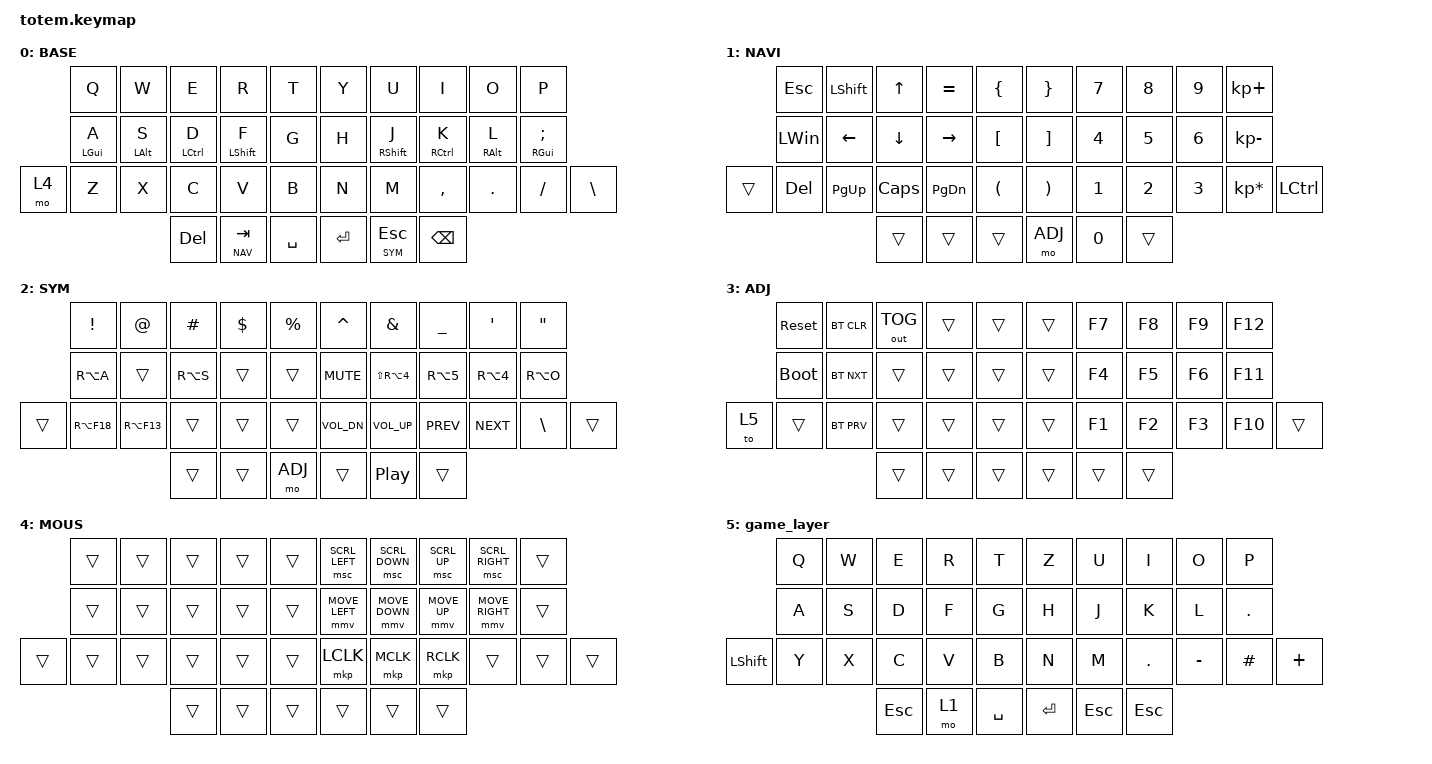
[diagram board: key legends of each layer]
//
//                                                        ▀▀▀▀▀     ▀▀▀▀▀          ▀▀█▀▀
//                                                        ▄▀▀▀▄  ▄  ▄▀▀▀▄  ▄  ▄▀▀▀▄  █  ▄▀▀▀▄
//                                                        █   █  █  █   █  █  █   █  █  █   █
//                                                         ▀▀▀   █   ▀▀▀   █   ▀▀▀   ▀   ▀▀▀
//                                                               █      ▄▄▄█▄▄▄    █   █  
//                                                               ▀      █  █  █     █▄█
//                                                             ▀▀▀▀▀    █  █  █      ▀
//                                                                      ▀  ▀  ▀
//
// ▄▄▄▄▄▄▄▄▄▄▄▄▄▄▄▄▄▄▄▄▄▄▄▄▄▄▄▄▄▄▄▄▄▄▄▄▄▄▄▄▄▄▄▄▄▄▄▄▄▄▄▄▄▄▄▄▄▄▄▄▄▄▄▄▄▄▄▄▄▄▄▄▄▄▄▄▄▄▄▄▄▄▄▄▄▄▄▄▄▄▄▄▄▄▄▄▄▄▄▄▄▄▄▄▄▄▄▄▄▄▄▄▄▄▄▄▄▄▄▄▄▄▄▄▄▄▄▄▄▄▄▄▄▄▄▄▄▄▄▄▄▄▄▄▄▄▄▄▄

#include <behaviors.dtsi>
#include <dt-bindings/zmk/bt.h>
#include <dt-bindings/zmk/keys.h>
#include <dt-bindings/zmk/outputs.h>
#include <dt-bindings/zmk/pointing.h>

#define BASE 0
#define NAV  1
#define SYM  2
#define ADJ  3
#define MOUS 4

&mt {
    quick-tap-ms = <100>;
    global-quick-tap;
    flavor = "tap-preferred";
    tapping-term-ms = <170>;
};

/ {
    combos {
        compatible = "zmk,combos";

        combo_esc {
            timeout-ms = <50>;
            key-positions = <0 1>;
            bindings = <&kp ESC>;
        };
    };

    keymap {
        compatible = "zmk,keymap";

        // ▄▄▄▄▄▄▄▄▄▄▄▄▄▄▄▄▄▄▄▄▄▄▄▄▄▄▄▄▄▄▄▄▄▄▄▄▄▄▄▄▄▄▄▄▄▄▄▄▄▄▄▄▄▄▄▄▄▄▄▄▄▄▄▄▄▄▄▄▄▄▄▄▄▄▄▄▄▄▄▄▄▄▄▄▄▄▄▄▄▄▄▄▄▄▄▄▄▄▄▄▄▄▄▄▄▄▄▄▄▄▄▄▄▄▄▄▄▄▄▄▄▄▄▄▄▄▄▄▄▄▄▄▄▄▄▄▄▄▄▄▄▄▄▄▄▄▄▄▄

        base_layer {
            // ┏━━━━━━━━━━━━━━━━━━━━━━━━━━━━━━━━━━━━━━━┓

            label = "BASE";

            // ┗━━━━━━━━━━━━━━━━━━━━━━━━━━━━━━━━━━━━━━━┛
            //             ┏━━━━━━━━━━━┳━━━━━━━━━━━┳━━━━━━━━━━━┳━━━━━━━━━━━┳━━━━━━━━━━━┓   ┏━━━━━━━━━━━┳━━━━━━━━━━━┳━━━━━━━━━━━┳━━━━━━━━━━━┳━━━━━━━━━━━┓
            //             ┃     Q     ┃     W     ┃     E     ┃     R     ┃     T     ┃   ┃     Y     ┃     U     ┃     I     ┃     O     ┃     P     ┃
            //             ┣━━━━━━━━━━━╋━━━━━━━━━━━╋━━━━━━━━━━━╋━━━━━━━━━━━╋━━━━━━━━━━━┫   ┣━━━━━━━━━━━╋━━━━━━━━━━━╋━━━━━━━━━━━╋━━━━━━━━━━━╋━━━━━━━━━━━┫
            //             ┃     A     ┃     S     ┃     D     ┃     F     ┃     G     ┃   ┃     H     ┃     J     ┃     K     ┃     L     ┃     ;     ┃
            // ┏━━━━━━━━━━━╋━━━━━━━━━━━╋━━━━━━━━━━━╋━━━━━━━━━━━╋━━━━━━━━━━━╋━━━━━━━━━━━┫   ┣━━━━━━━━━━━╋━━━━━━━━━━━╋━━━━━━━━━━━╋━━━━━━━━━━━╋━━━━━━━━━━━╋━━━━━━━━━━━┓
            // ┃           ┃     Z     ┃     X     ┃     C     ┃     V     ┃     B     ┃   ┃     N     ┃     M     ┃     ,     ┃     .     ┃     /     ┃     \     ┃
            // ┗━━━━━━━━━━━┻━━━━━━━━━━━┻━━━━━━━━━━━╋━━━━━━━━━━━╋━━━━━━━━━━━╋━━━━━━━━━━━┫   ┣━━━━━━━━━━━╋━━━━━━━━━━━╋━━━━━━━━━━━╋━━━━━━━━━━━┻━━━━━━━━━━━┻━━━━━━━━━━━┛
            //                                     ┃    DEL    ┃    TAB    ┃    SPC    ┃   ┃   ENTER   ┃           ┃   BSPC    ┃
            //                                     ┗━━━━━━━━━━━┻━━━━━━━━━━━┻━━━━━━━━━━━┛   ┗━━━━━━━━━━━┻━━━━━━━━━━━┻━━━━━━━━━━━┛

            bindings = <
       &kp Q       &kp W       &kp E        &kp R        &kp T        &kp Y    &kp U        &kp I        &kp O       &kp P
       &mt LGUI A  &mt LALT S  &mt LCTRL D  &mt LSHFT F  &kp G        &kp H    &mt RSHFT J  &mt RCTRL K  &mt RALT L  &mt RGUI SEMI
&mo 4  &kp Z       &kp X       &kp C        &kp V        &kp B        &kp N    &kp M        &kp COMMA    &kp DOT     &kp FSLH       &kp BSLH
                               &kp DEL      &lt NAV TAB  &kp SPACE    &kp RET  &lt SYM ESC  &kp BSPC
            >;
        };

        // ▄▄▄▄▄▄▄▄▄▄▄▄▄▄▄▄▄▄▄▄▄▄▄▄▄▄▄▄▄▄▄▄▄▄▄▄▄▄▄▄▄▄▄▄▄▄▄▄▄▄▄▄▄▄▄▄▄▄▄▄▄▄▄▄▄▄▄▄▄▄▄▄▄▄▄▄▄▄▄▄▄▄▄▄▄▄▄▄▄▄▄▄▄▄▄▄▄▄▄▄▄▄▄▄▄▄▄▄▄▄▄▄▄▄▄▄▄▄▄▄▄▄▄▄▄▄▄▄▄▄▄▄▄▄▄▄▄▄▄▄▄▄▄▄▄▄▄▄▄

        nav_layer {
            // ┏━━━━━━━━━━━━━━━━━━━━━━━━━━━━━━━━━━━━━━━┓

            label = "NAVI";

            // ┗━━━━━━━━━━━━━━━━━━━━━━━━━━━━━━━━━━━━━━━┛
            //             ┏━━━━━━━━━━━┳━━━━━━━━━━━┳━━━━━━━━━━━┳━━━━━━━━━━━┳━━━━━━━━━━━┓   ┏━━━━━━━━━━━┳━━━━━━━━━━━┳━━━━━━━━━━━┳━━━━━━━━━━━┳━━━━━━━━━━━┓
            //             ┃           ┃           ┃     UP    ┃           ┃     {     ┃   ┃     }     ┃     7     ┃     8     ┃     9     ┃     +     ┃
            //             ┣━━━━━━━━━━━╋━━━━━━━━━━━╋━━━━━━━━━━━╋━━━━━━━━━━━╋━━━━━━━━━━━┫   ┣━━━━━━━━━━━╋━━━━━━━━━━━╋━━━━━━━━━━━╋━━━━━━━━━━━╋━━━━━━━━━━━┫
            //             ┃   SHIFT   ┃   LEFT    ┃    DOWN   ┃   RIGHT   ┃     [     ┃   ┃     ]     ┃     4     ┃     5     ┃     6     ┃     -     ┃
            // ┏━━━━━━━━━━━╋━━━━━━━━━━━╋━━━━━━━━━━━╋━━━━━━━━━━━╋━━━━━━━━━━━╋━━━━━━━━━━━┫   ┣━━━━━━━━━━━╋━━━━━━━━━━━╋━━━━━━━━━━━╋━━━━━━━━━━━╋━━━━━━━━━━━╋━━━━━━━━━━━┓
            // ┃           ┃           ┃   P UP    ┃  C LOCK   ┃  P DOWN   ┃     (     ┃   ┃     )     ┃     1     ┃     2     ┃     3     ┃     *     ┃           ┃
            // ┗━━━━━━━━━━━┻━━━━━━━━━━━┻━━━━━━━━━━━╋━━━━━━━━━━━╋━━━━━━━━━━━╋━━━━━━━━━━━┫   ┣━━━━━━━━━━━╋━━━━━━━━━━━╋━━━━━━━━━━━╋━━━━━━━━━━━┻━━━━━━━━━━━┻━━━━━━━━━━━┛
            //                                     ┃           ┃    TAB    ┃    SPC    ┃   ┃    DEL    ┃     0     ┃           ┃
            //                                     ┗━━━━━━━━━━━┻━━━━━━━━━━━┻━━━━━━━━━━━┛   ┗━━━━━━━━━━━┻━━━━━━━━━━━┻━━━━━━━━━━━┛

            bindings = <
        &kp ESC       &kp LSHFT  &kp UP    &kp EQUAL  &kp LBRC    &kp RBRC  &kp N7        &kp N8        &kp N9        &kp KP_PLUS
        &kp LEFT_WIN  &kp LEFT   &kp DOWN  &kp RIGHT  &kp LBKT    &kp RBKT  &kp NUMBER_4  &kp N5        &kp NUMBER_6  &kp KP_MINUS
&trans  &kp DEL       &kp PG_UP  &kp CAPS  &kp PG_DN  &kp LPAR    &kp RPAR  &kp NUMBER_1  &kp NUMBER_2  &kp NUMBER_3  &kp KP_MULTIPLY  &kp LCTRL
                                 &trans    &trans     &trans      &mo ADJ   &kp N0        &trans
            >;
        };

        // ▄▄▄▄▄▄▄▄▄▄▄▄▄▄▄▄▄▄▄▄▄▄▄▄▄▄▄▄▄▄▄▄▄▄▄▄▄▄▄▄▄▄▄▄▄▄▄▄▄▄▄▄▄▄▄▄▄▄▄▄▄▄▄▄▄▄▄▄▄▄▄▄▄▄▄▄▄▄▄▄▄▄▄▄▄▄▄▄▄▄▄▄▄▄▄▄▄▄▄▄▄▄▄▄▄▄▄▄▄▄▄▄▄▄▄▄▄▄▄▄▄▄▄▄▄▄▄▄▄▄▄▄▄▄▄▄▄▄▄▄▄▄▄▄▄▄▄▄▄

        sim_layer {
            // ┏━━━━━━━━━━━━━━━━━━━━━━━━━━━━━━━━━━━━━━━┓

            label = "SYM";

            // ┗━━━━━━━━━━━━━━━━━━━━━━━━━━━━━━━━━━━━━━━┛
            //             ┏━━━━━━━━━━━┳━━━━━━━━━━━┳━━━━━━━━━━━┳━━━━━━━━━━━┳━━━━━━━━━━━┓   ┏━━━━━━━━━━━┳━━━━━━━━━━━┳━━━━━━━━━━━┳━━━━━━━━━━━┳━━━━━━━━━━━┓
            //             ┃     !     ┃     @     ┃     #     ┃     $     ┃     %     ┃   ┃     ˆ     ┃     &     ┃     Ü     ┃     '     ┃     "     ┃
            //             ┣━━━━━━━━━━━╋━━━━━━━━━━━╋━━━━━━━━━━━╋━━━━━━━━━━━╋━━━━━━━━━━━┫   ┣━━━━━━━━━━━╋━━━━━━━━━━━╋━━━━━━━━━━━╋━━━━━━━━━━━╋━━━━━━━━━━━┫
            //             ┃     Ä     ┃           ┃    SZ     ┃           ┃           ┃   ┃   MUTE    ┃   YEN     ┃   EURO    ┃  POUND    ┃     Ö     ┃
            // ┏━━━━━━━━━━━╋━━━━━━━━━━━╋━━━━━━━━━━━╋━━━━━━━━━━━╋━━━━━━━━━━━╋━━━━━━━━━━━┫   ┣━━━━━━━━━━━╋━━━━━━━━━━━╋━━━━━━━━━━━╋━━━━━━━━━━━╋━━━━━━━━━━━╋━━━━━━━━━━━┓
            // ┃           ┃  EMAIL1   ┃  EMAIL2   ┃           ┃           ┃           ┃   ┃   VOL-    ┃   VOL+    ┃   LAST    ┃   NEXT    ┃     \     ┃           ┃
            // ┗━━━━━━━━━━━┻━━━━━━━━━━━┻━━━━━━━━━━━╋━━━━━━━━━━━╋━━━━━━━━━━━╋━━━━━━━━━━━┫   ┣━━━━━━━━━━━╋━━━━━━━━━━━╋━━━━━━━━━━━╋━━━━━━━━━━━┻━━━━━━━━━━━┻━━━━━━━━━━━┛
            //                                     ┃           ┃    GIF    ┃    ADJ    ┃   ┃           ┃           ┃           ┃
            //                                     ┗━━━━━━━━━━━┻━━━━━━━━━━━┻━━━━━━━━━━━┛   ┗━━━━━━━━━━━┻━━━━━━━━━━━┻━━━━━━━━━━━┛

            bindings = <
        &kp EXCL     &kp AT       &kp HASH   &kp DLLR  &kp PRCNT    &kp CARET     &kp AMPS        &kp UNDER   &kp SQT     &kp DQT
        &kp RA(A)    &trans       &kp RA(S)  &trans    &trans       &kp C_MUTE    &kp LS(RA(N4))  &kp RA(N5)  &kp RA(N4)  &kp RA(O)
&trans  &kp RA(F18)  &kp RA(F13)  &trans     &trans    &trans       &kp C_VOL_DN  &kp C_VOL_UP    &kp C_PREV  &kp C_NEXT  &kp BSLH   &trans
                                  &trans     &trans    &mo ADJ      &trans        &kp C_PP        &trans
            >;
        };

        // ▄▄▄▄▄▄▄▄▄▄▄▄▄▄▄▄▄▄▄▄▄▄▄▄▄▄▄▄▄▄▄▄▄▄▄▄▄▄▄▄▄▄▄▄▄▄▄▄▄▄▄▄▄▄▄▄▄▄▄▄▄▄▄▄▄▄▄▄▄▄▄▄▄▄▄▄▄▄▄▄▄▄▄▄▄▄▄▄▄▄▄▄▄▄▄▄▄▄▄▄▄▄▄▄▄▄▄▄▄▄▄▄▄▄▄▄▄▄▄▄▄▄▄▄▄▄▄▄▄▄▄▄▄▄▄▄▄▄▄▄▄▄▄▄▄▄▄▄▄

        adjust_layer {
            // ┏━━━━━━━━━━━━━━━━━━━━━━━━━━━━━━━━━━━━━━━┓

            label = "ADJ";

            // ┗━━━━━━━━━━━━━━━━━━━━━━━━━━━━━━━━━━━━━━━┛
            //             ┏━━━━━━━━━━━┳━━━━━━━━━━━┳━━━━━━━━━━━┳━━━━━━━━━━━┳━━━━━━━━━━━┓   ┏━━━━━━━━━━━┳━━━━━━━━━━━┳━━━━━━━━━━━┳━━━━━━━━━━━┳━━━━━━━━━━━┓
            //             ┃   RESET   ┃ BT CLEAR  ┃  OUT TOG  ┃           ┃           ┃   ┃           ┃    F7     ┃    F8     ┃    F9     ┃    F12    ┃
            //             ┣━━━━━━━━━━━╋━━━━━━━━━━━╋━━━━━━━━━━━╋━━━━━━━━━━━╋━━━━━━━━━━━┫   ┣━━━━━━━━━━━╋━━━━━━━━━━━╋━━━━━━━━━━━╋━━━━━━━━━━━╋━━━━━━━━━━━┫
            //             ┃ BOOTLOAD  ┃ BT NEXT   ┃           ┃           ┃           ┃   ┃           ┃    F4     ┃    F5     ┃    F6     ┃    F11    ┃
            // ┏━━━━━━━━━━━╋━━━━━━━━━━━╋━━━━━━━━━━━╋━━━━━━━━━━━╋━━━━━━━━━━━╋━━━━━━━━━━━┫   ┣━━━━━━━━━━━╋━━━━━━━━━━━╋━━━━━━━━━━━╋━━━━━━━━━━━╋━━━━━━━━━━━╋━━━━━━━━━━━┓
            // ┃           ┃           ┃ BT PREV   ┃           ┃           ┃           ┃   ┃           ┃    F1     ┃    F2     ┃    F3     ┃    F10    ┃           ┃
            // ┗━━━━━━━━━━━┻━━━━━━━━━━━┻━━━━━━━━━━━╋━━━━━━━━━━━╋━━━━━━━━━━━╋━━━━━━━━━━━┫   ┣━━━━━━━━━━━╋━━━━━━━━━━━╋━━━━━━━━━━━╋━━━━━━━━━━━┻━━━━━━━━━━━┻━━━━━━━━━━━┛
            //                                     ┃           ┃           ┃           ┃   ┃           ┃           ┃           ┃
            //                                     ┗━━━━━━━━━━━┻━━━━━━━━━━━┻━━━━━━━━━━━┛   ┗━━━━━━━━━━━┻━━━━━━━━━━━┻━━━━━━━━━━━┛

            bindings = <
       &sys_reset   &bt BT_CLR  &out OUT_TOG  &trans  &trans    &trans  &kp F7  &kp F8  &kp F9  &kp F12
       &bootloader  &bt BT_NXT  &trans        &trans  &trans    &trans  &kp F4  &kp F5  &kp F6  &kp F11
&to 5  &trans       &bt BT_PRV  &trans        &trans  &trans    &trans  &kp F1  &kp F2  &kp F3  &kp F10  &trans
                                &trans        &trans  &trans    &trans  &trans  &trans
            >;
        };

        mouse_layer {
            // ┏━━━━━━━━━━━━━━━━━━━━━━━━━━━━━━━━━━━━━━━┓

            label = "MOUS";

            // ┗━━━━━━━━━━━━━━━━━━━━━━━━━━━━━━━━━━━━━━━┛
            //             ┏━━━━━━━━━━━┳━━━━━━━━━━━┳━━━━━━━━━━━┳━━━━━━━━━━━┳━━━━━━━━━━━┓   ┏━━━━━━━━━━━┳━━━━━━━━━━━┳━━━━━━━━━━━┳━━━━━━━━━━━┳━━━━━━━━━━━┓
            //             ┃           ┃           ┃           ┃           ┃           ┃   ┃ SCRL_LEFT ┃ SCRL_DOWN ┃  SCRL_UP  ┃ SCRL_RIGHT┃           ┃
            //             ┣━━━━━━━━━━━╋━━━━━━━━━━━╋━━━━━━━━━━━╋━━━━━━━━━━━╋━━━━━━━━━━━┫   ┣━━━━━━━━━━━╋━━━━━━━━━━━╋━━━━━━━━━━━╋━━━━━━━━━━━╋━━━━━━━━━━━┫
            //             ┃           ┃           ┃           ┃           ┃           ┃   ┃ MOVE_LEFT ┃ MOVE_DOWN ┃  MOVE_UP  ┃ MOVE_RIGHT┃           ┃
            // ┏━━━━━━━━━━━╋━━━━━━━━━━━╋━━━━━━━━━━━╋━━━━━━━━━━━╋━━━━━━━━━━━╋━━━━━━━━━━━┫   ┣━━━━━━━━━━━╋━━━━━━━━━━━╋━━━━━━━━━━━╋━━━━━━━━━━━╋━━━━━━━━━━━╋━━━━━━━━━━━┓
            // ┃           ┃           ┃           ┃           ┃           ┃           ┃   ┃           ┃    LCLK   ┃    MCLK   ┃   RCLK    ┃           ┃           ┃
            // ┗━━━━━━━━━━━┻━━━━━━━━━━━┻━━━━━━━━━━━╋━━━━━━━━━━━╋━━━━━━━━━━━╋━━━━━━━━━━━┫   ┣━━━━━━━━━━━╋━━━━━━━━━━━╋━━━━━━━━━━━╋━━━━━━━━━━━┻━━━━━━━━━━━┻━━━━━━━━━━━┛
            //                                     ┃           ┃           ┃           ┃   ┃           ┃           ┃           ┃
            //                                     ┗━━━━━━━━━━━┻━━━━━━━━━━━┻━━━━━━━━━━━┛   ┗━━━━━━━━━━━┻━━━━━━━━━━━┻━━━━━━━━━━━┛

            bindings = <
        &trans  &trans  &trans  &trans  &trans    &msc SCRL_LEFT  &msc SCRL_DOWN  &msc SCRL_UP  &msc SCRL_RIGHT  &trans
        &trans  &trans  &trans  &trans  &trans    &mmv MOVE_LEFT  &mmv MOVE_DOWN  &mmv MOVE_UP  &mmv MOVE_RIGHT  &trans
&trans  &trans  &trans  &trans  &trans  &trans    &mkp LCLK       &mkp MCLK       &mkp RCLK     &trans           &trans  &trans
                        &trans  &trans  &trans    &trans          &trans          &trans
            >;
        };

        game_layer {
            bindings = <
           &kp Q  &kp W  &kp E    &kp R  &kp T        &kp Z    &kp U       &kp I    &kp O      &kp P
           &kp A  &kp S  &kp D    &kp F  &kp G        &kp H    &kp J       &kp K    &kp L      &kp DOT
&kp LSHFT  &kp Y  &kp X  &kp C    &kp V  &kp B        &kp N    &kp M       &kp DOT  &kp MINUS  &kp POUND  &kp PLUS
                         &kp ESC  &mo 1  &kp SPACE    &kp RET  &kp ESCAPE  &kp ESC
            >;
        };
    };
};
